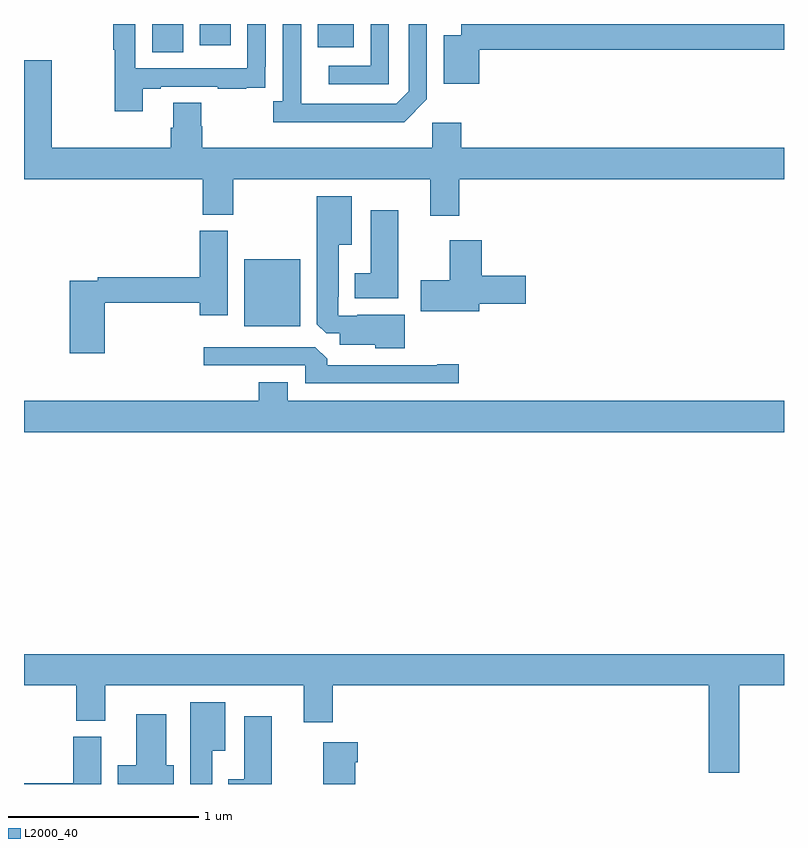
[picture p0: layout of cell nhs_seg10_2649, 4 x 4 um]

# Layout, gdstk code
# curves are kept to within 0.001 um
import gdstk
lib = gdstk.Library(unit=1e-6, precision=1e-09)
def R(c, l, rs):  # rectangles x0, y0, x1, y1
    for r in rs: c.add(gdstk.rectangle(r[:2], r[2:], *l))
def P(c, l, *ps):  # polygons
    for p in ps: c.add(gdstk.Polygon(p, *l))
L2000_40 = (2000, 40)

nhs_seg10_2649 = lib.new_cell('nhs_seg10_2649')
R(nhs_seg10_2649, L2000_40, [(256.16,1264.91,256.453,1265.263), (255.674,1266.352,255.838,1266.5), (256.547,1266.377,256.735,1266.5), (255.926,1266.387,256.087,1266.5)])
P(nhs_seg10_2649, L2000_40, [(255.625,1266.159),(255.721,1266.159),(255.721,1266.171),(256.021,1266.171),(256.021,1266.159),(256.169,1266.159),(256.169,1266.165),(256.271,1266.165),(256.271,1266.274),(256.272,1266.274),(256.272,1266.5),(256.176,1266.5),(256.176,1266.267),(255.585,1266.267),(255.585,1266.5),(255.469,1266.5),(255.469,1266.364),(255.477,1266.364),(255.477,1266.042),(255.625,1266.042)],
  [(257.397,1266.364),(259,1266.364),(259,1266.5),(257.3,1266.5),(257.3,1266.442),(257.21,1266.442),(257.21,1266.185),(257.397,1266.185)],
  [(257.121,1266.105),(257.121,1266.5),(257.025,1266.5),(257.025,1266.147),(256.959,1266.081),(256.459,1266.081),(256.458,1266.5),(256.362,1266.5),(256.362,1266.094),(256.311,1266.094),(256.311,1265.984),(257,1265.984)],
  [(256.92,1266.5),(256.824,1266.5),(256.824,1266.279),(256.605,1266.279),(256.605,1266.183),(256.92,1266.183)],
  [(257.291,1265.684),(259,1265.684),(259,1265.848),(257.3,1265.848),(257.3,1265.98),(257.148,1265.98),(257.148,1265.848),(255.938,1265.848),(255.938,1265.961),(255.933,1265.961),(255.933,1266.086),(255.785,1266.086),(255.785,1265.954),(255.773,1265.954),(255.773,1265.848),(255.147,1265.848),(255.147,1266.31),(255,1266.31),(255,1265.684),(255.941,1265.684),(255.941,1265.497),(256.101,1265.497),(256.101,1265.684),(257.138,1265.684),(257.138,1265.49),(257.291,1265.49)],
  [(257.005,1264.969),(256.753,1264.969),(256.753,1264.965),(256.653,1264.965),(256.653,1265.065),(256.657,1265.065),(256.657,1265.339),(256.726,1265.339),(256.726,1265.593),(256.541,1265.593),(256.541,1264.921),(256.59,1264.872),(256.661,1264.872),(256.661,1264.811),(256.848,1264.811),(256.848,1264.793),(257.005,1264.793)],
  [(256.969,1265.521),(256.826,1265.521),(256.826,1265.188),(256.742,1265.188),(256.742,1265.057),(256.969,1265.057)],
  [(255.425,1265.032),(255.926,1265.032),(255.926,1264.968),(256.072,1264.968),(256.072,1265.412),(255.926,1265.412),(255.926,1265.168),(255.388,1265.168),(255.388,1265.148),(255.242,1265.148),(255.242,1264.767),(255.425,1264.767)],
  [(257.395,1265.027),(257.641,1265.027),(257.641,1265.174),(257.408,1265.174),(257.408,1265.362),(257.24,1265.362),(257.24,1265.151),(257.088,1265.151),(257.088,1264.988),(257.395,1264.988)],
  [(257.287,1264.709),(257.174,1264.709),(257.174,1264.704),(256.595,1264.704),(256.595,1264.738),(256.533,1264.8),(255.945,1264.8),(255.945,1264.704),(256.479,1264.704),(256.479,1264.608),(257.287,1264.608)],
  [(259,1264.516),(256.387,1264.516),(256.387,1264.615),(256.235,1264.615),(256.235,1264.516),(255,1264.516),(255,1264.352),(259,1264.352)],
  [(258.765,1263.02),(259,1263.02),(259,1263.184),(255,1263.184),(255,1263.02),(255.275,1263.02),(255.275,1262.833),(255.427,1262.833),(255.427,1263.02),(256.472,1263.02),(256.472,1262.826),(256.625,1262.826),(256.625,1263.02),(258.605,1263.02),(258.605,1262.559),(258.765,1262.559)],
  [(255.991,1262.675),(256.06,1262.675),(256.06,1262.929),(255.875,1262.929),(255.875,1262.5),(255.991,1262.5)],
  [(255.787,1262.599),(255.748,1262.599),(255.748,1262.866),(255.59,1262.866),(255.59,1262.599),(255.494,1262.599),(255.494,1262.5),(255.787,1262.5)],
  [(256.303,1262.857),(256.16,1262.857),(256.16,1262.524),(256.076,1262.524),(256.076,1262.5),(256.303,1262.5)],
  [(255.406,1262.748),(255.26,1262.748),(255.26,1262.504),(255,1262.504),(255,1262.5),(255.406,1262.5)],
  [(256.744,1262.615),(256.757,1262.615),(256.757,1262.719),(256.574,1262.719),(256.574,1262.5),(256.744,1262.5)])

lib.write_gds('nhs_seg10_2649.gds')
